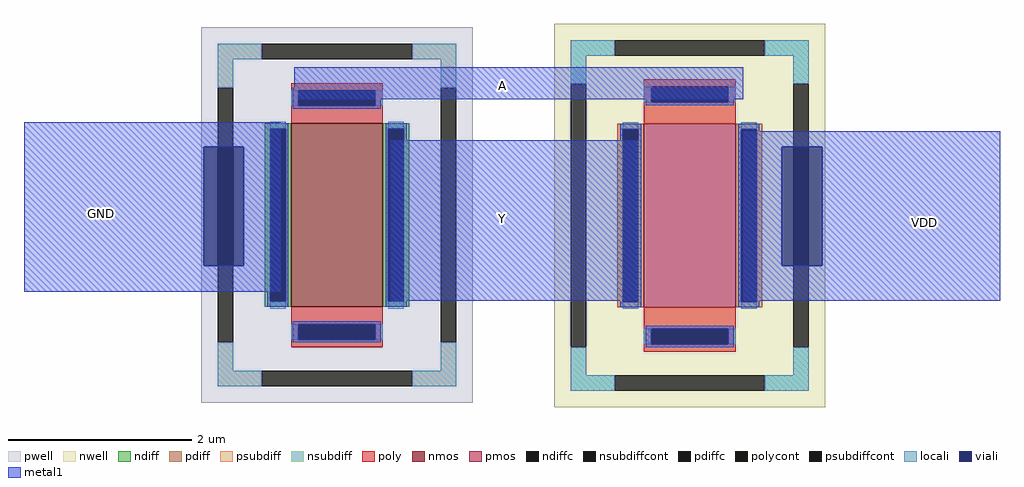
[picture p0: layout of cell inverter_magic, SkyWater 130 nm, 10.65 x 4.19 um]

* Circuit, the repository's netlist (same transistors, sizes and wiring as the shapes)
* NGSPICE file created from inverter_magic.ext - technology: sky130A

.subckt sky130_fd_pr__nfet_01v8_M9466H a_100_n200# a_n158_n200# a_n100_n288# a_n260_n374#
X0 a_100_n200# a_n100_n288# a_n158_n200# a_n260_n374# sky130_fd_pr__nfet_01v8 ad=0.58 pd=4.58 as=0.58 ps=4.58 w=2 l=1
.ends

.subckt sky130_fd_pr__pfet_01v8_LXK9WL w_n296_n419# a_n100_n297# a_100_n200# a_n158_n200#
X0 a_100_n200# a_n100_n297# a_n158_n200# w_n296_n419# sky130_fd_pr__pfet_01v8 ad=0.58 pd=4.58 as=0.58 ps=4.58 w=2 l=1
.ends

.subckt inverter_magic VDD GND Y A
Xsky130_fd_pr__nfet_01v8_M9466H_0 Y GND A GND sky130_fd_pr__nfet_01v8_M9466H
Xsky130_fd_pr__pfet_01v8_LXK9WL_1 VDD A VDD Y sky130_fd_pr__pfet_01v8_LXK9WL
.ends

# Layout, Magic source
magic
tech sky130A
magscale 1 2
<< viali >>
rect -48 246 40 506
rect 1214 246 1302 506
<< metal1 >>
rect 150 610 1130 680
rect -440 506 120 560
rect -440 246 -48 506
rect 40 246 120 506
rect -440 190 120 246
rect 360 170 900 520
rect 1130 506 1690 540
rect 1130 246 1214 506
rect 1302 246 1690 506
rect 1130 170 1690 246
use sky130_fd_pr__nfet_01v8_M9466H  sky130_fd_pr__nfet_01v8_M9466H_0
transform 1 0 243 0 1 357
box -296 -410 296 410
use sky130_fd_pr__pfet_01v8_LXK9WL  sky130_fd_pr__pfet_01v8_LXK9WL_1
transform 1 0 1013 0 1 356
box -296 -419 296 419
<< labels >>
rlabel metal1 1390 200 1660 480 1 VDD
port 1 n
rlabel metal1 -400 230 -140 490 1 GND
port 2 n
rlabel metal1 520 290 690 410 1 Y
port 3 n
rlabel metal1 550 620 660 660 1 A
port 4 n
<< end >>

# cell sky130_fd_pr__nfet_01v8_M9466H: kit device sky130_fd_pr__nfet_01v8, w 2 l 1 m 1 nf 1 diffcov 100 polycov 100 guard 1 glc 1 grc 1 gtc 1 gbc 1 tbcov 100 rlcov 100 topc 1 botc 1 poverlap 0 doverlap 1 lmin 0.15 wmin 0.42 compatible {sky130_fd_pr__nfet_01v8 sky130_fd_pr__nfet_01v8_lvt sky130_fd_bs_flash__special_sonosfet_star sky130_fd_pr__nfet_g5v0d10v5 sky130_fd_pr__nfet_05v0_nvt sky130_fd_pr__nfet_03v3_nvt} full_metal 1 viasrc 100 viadrn 100 viagate 100 viagb 0 viagr 0 viagl 0 viagt 0

# cell sky130_fd_pr__pfet_01v8_LXK9WL: kit device sky130_fd_pr__pfet_01v8, w 2 l 1 m 1 nf 1 diffcov 100 polycov 100 guard 1 glc 1 grc 1 gtc 1 gbc 1 tbcov 100 rlcov 100 topc 1 botc 1 poverlap 0 doverlap 1 lmin 0.15 wmin 0.42 compatible {sky130_fd_pr__pfet_01v8 sky130_fd_pr__pfet_01v8_lvt sky130_fd_pr__pfet_01v8_hvt sky130_fd_pr__pfet_g5v0d10v5} full_metal 1 viasrc 100 viadrn 100 viagate 100 viagb 0 viagr 0 viagl 0 viagt 0
